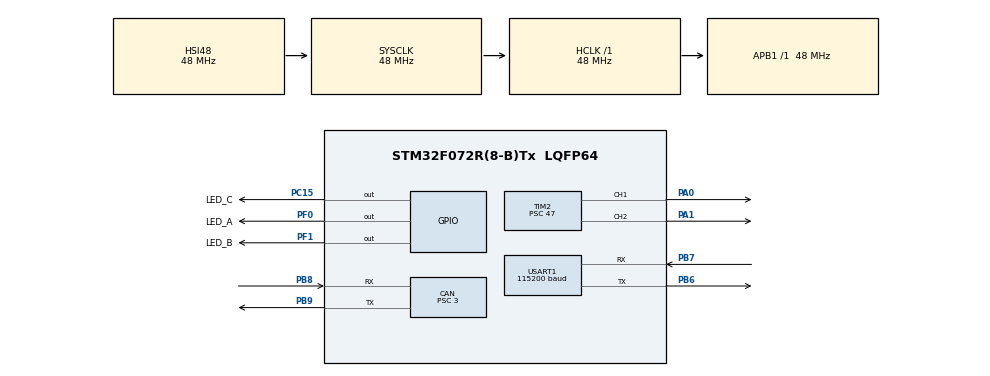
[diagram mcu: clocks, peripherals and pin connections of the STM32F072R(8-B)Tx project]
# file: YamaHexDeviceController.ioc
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CAN.BS1=CAN_BS1_11TQ
CAN.BS2=CAN_BS2_4TQ
CAN.CalculateBaudRate=1000000
CAN.CalculateTimeBit=1000
CAN.CalculateTimeQuantum=62.5
CAN.Prescaler=3
Mcu.Family=STM32F0
Mcu.Name=STM32F072R(8-B)Tx
Mcu.Package=LQFP64
NVIC.CEC_CAN_IRQn=true\:0\:0\:false\:false\:true\:true\:true\:true
PA0.Signal=S_TIM2_CH1_ETR
PA1.Signal=S_TIM2_CH2
PA13.Mode=Serial_Wire
PA13.Signal=SYS_SWDIO
PA14.Mode=Serial_Wire
PA14.Signal=SYS_SWCLK
PB6.Mode=Asynchronous
PB6.Signal=USART1_TX
PB7.Mode=Asynchronous
PB7.Signal=USART1_RX
PB8.Mode=CAN_Activate
PB8.Signal=CAN_RX
PB9.Mode=CAN_Activate
PB9.Signal=CAN_TX
PC15-OSC32_OUT.GPIO_Label=LED_C
PC15-OSC32_OUT.Signal=GPIO_Output
PF0-OSC_IN.GPIO_Label=LED_A
PF0-OSC_IN.Signal=GPIO_Output
PF1-OSC_OUT.GPIO_Label=LED_B
PF1-OSC_OUT.Signal=GPIO_Output
ProjectManager.HeapSize=0x200
ProjectManager.StackSize=0x400
ProjectManager.TargetToolchain=CMake
RCC.AHBFreq_Value=48000000
RCC.APB1Freq_Value=48000000
RCC.APB1TimFreq_Value=48000000
RCC.HCLKFreq_Value=48000000
RCC.SYSCLKFreq_VALUE=48000000
RCC.SYSCLKSource=RCC_SYSCLKSOURCE_HSI48
SH.S_TIM2_CH1_ETR.0=TIM2_CH1,PWM Generation1 CH1
SH.S_TIM2_CH2.0=TIM2_CH2,PWM Generation2 CH2
TIM2.Channel-PWM\ Generation1\ CH1=TIM_CHANNEL_1
TIM2.Channel-PWM\ Generation2\ CH2=TIM_CHANNEL_2
TIM2.Period=499
TIM2.Prescaler=47
USART1.BaudRate=115200
USART1.VirtualMode-Asynchronous=VM_ASYNC
board=custom

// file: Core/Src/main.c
/* USER CODE BEGIN Header */
/**
 ******************************************************************************
 * @file           : main.c
 * @brief          : Main program body
 ******************************************************************************
 * @attention
 *
 * Copyright (c) 2026 STMicroelectronics.
 * All rights reserved.
 *
 * This software is licensed under terms that can be found in the LICENSE file
 * in the root directory of this software component.
 * If no LICENSE file comes with this software, it is provided AS-IS.
 *
 ******************************************************************************
 */
/* USER CODE END Header */
#include "main.h"
#include "can.h"
#include "tim.h"
#include "usart.h"
#include "gpio.h"

/* USER CODE BEGIN Includes */
#include <stdbool.h>
#include <stdio.h>
/* USER CODE END Includes */

/* USER CODE BEGIN PD */
#define MOTOR_DUTY_MIN_PERCENT (-100)
#define MOTOR_DUTY_MAX_PERCENT (100)

/* USER CODE END PD */

void SystemClock_Config(void);
/* USER CODE BEGIN PFP */
void initCAN(void);
HAL_StatusTypeDef sendPacket(uint16_t stdId, const uint8_t *data, uint8_t len);
void Motor_SetDutyPercent(int8_t duty_percent);

/* USER CODE END PFP */

/* USER CODE BEGIN 0 */
CAN_RxHeaderTypeDef RxHeader;
CAN_FilterTypeDef RxFilter;
CAN_TxHeaderTypeDef TxHeader;
uint32_t TxMailbox;
uint8_t RxData[8];
bool RxFlag;

void initCAN(void)
{
  RxFilter.FilterBank = 0;
  RxFilter.FilterMode = CAN_FILTERMODE_IDMASK;
  RxFilter.FilterScale = CAN_FILTERSCALE_32BIT;
  RxFilter.FilterIdHigh = 0x0000;
  RxFilter.FilterIdLow = 0x0000;
  RxFilter.FilterMaskIdHigh = 0x0000;
  RxFilter.FilterMaskIdLow = 0x0000;
  RxFilter.FilterFIFOAssignment = CAN_RX_FIFO0;
  RxFilter.FilterActivation = ENABLE;
  RxFilter.SlaveStartFilterBank = 14;

  if (HAL_CAN_ConfigFilter(&hcan, &RxFilter) != HAL_OK)
  {
    Error_Handler();
  }

  if (HAL_CAN_Start(&hcan) != HAL_OK)
  {
    Error_Handler();
  }

  if (HAL_CAN_ActivateNotification(&hcan, CAN_IT_RX_FIFO0_MSG_PENDING) != HAL_OK)
  {
    Error_Handler();
  }
}
void Motor_SetDutyPercent(int8_t duty_percent)
{
  uint32_t arr = __HAL_TIM_GET_AUTORELOAD(&htim2) + 1U;
  uint32_t pulse = 0U;
  int32_t limited = duty_percent;

  if (limited > MOTOR_DUTY_MAX_PERCENT)
  {
    limited = MOTOR_DUTY_MAX_PERCENT;
  }
  else if (limited < MOTOR_DUTY_MIN_PERCENT)
  {
    limited = MOTOR_DUTY_MIN_PERCENT;
  }

  if (limited >= 0)
  {
    pulse = (uint32_t)((limited * (int32_t)arr) / MOTOR_DUTY_MAX_PERCENT);
    __HAL_TIM_SET_COMPARE(&htim2, TIM_CHANNEL_1, pulse);
    __HAL_TIM_SET_COMPARE(&htim2, TIM_CHANNEL_2, 0U);
  }
  else
  {
    pulse = (uint32_t)(((-limited) * (int32_t)arr) / MOTOR_DUTY_MAX_PERCENT);
    __HAL_TIM_SET_COMPARE(&htim2, TIM_CHANNEL_1, 0U);
    __HAL_TIM_SET_COMPARE(&htim2, TIM_CHANNEL_2, pulse);
  }
}

HAL_StatusTypeDef sendPacket(uint16_t stdId, const uint8_t *data, uint8_t data_length)
{
  if (data_length > 8)
  {
    return 0;
  }

  TxHeader.StdId = stdId;
  TxHeader.ExtId = 0;
  TxHeader.IDE = CAN_ID_STD;
  TxHeader.RTR = CAN_RTR_DATA;
  TxHeader.DLC = data_length;
  TxHeader.TransmitGlobalTime = DISABLE;

  return HAL_CAN_AddTxMessage(&hcan, &TxHeader, (uint8_t *)data, &TxMailbox);
}
/* USER CODE END 0 */

int main(void)
{

  /* MCU Configuration--------------------------------------------------------*/

  /* Reset of all peripherals, Initializes the Flash interface and the Systick. */
  HAL_Init();

  /* Configure the system clock */
  SystemClock_Config();

  /* Initialize all configured peripherals */
  MX_GPIO_Init();
  MX_CAN_Init();
  MX_USART1_UART_Init();
  MX_TIM2_Init();
  /* USER CODE BEGIN 2 */
  initCAN();
  HAL_TIM_PWM_Start(&htim2, TIM_CHANNEL_1); // 正転用のPWMを開始(htim2のチャンネル1にはモーターの正転用のPWMが設定されている)
  HAL_TIM_PWM_Start(&htim2, TIM_CHANNEL_2); // 逆転用のPWMを開始
  Motor_SetDutyPercent(-100);               // Motor_SetDutyPercentはモーターの回転速度と回転方向を設定する関数。引数は-100から100の範囲で、正の値が正転、負の値が逆転を表す。ここでは-100を指定しているため、モーターは最大速度で逆転する。
  /*duty_percent	0～100	正転（チャネル1でPWM出力）
  duty_percent	-100～0	逆転（チャネル2でPWM出力）
  duty_percent	0	モーター停止*/
  char b = '\'';
  HAL_UART_Transmit(&huart1, (uint8_t *)&b, 1, 1000);

  /* USER CODE END 2 */

  /* Infinite loop */
  while (1)
  {

    /* USER CODE BEGIN 3 */
    uint8_t tx_data[1] = {1};
    sendPacket(0x123, tx_data, sizeof(tx_data));
    HAL_Delay(1000);
  }
  /* USER CODE END 3 */
}

void SystemClock_Config(void)
{
  RCC_OscInitTypeDef RCC_OscInitStruct = {0};
  RCC_ClkInitTypeDef RCC_ClkInitStruct = {0};
  RCC_PeriphCLKInitTypeDef PeriphClkInit = {0};

  /** Initializes the RCC Oscillators according to the specified parameters
   * in the RCC_OscInitTypeDef structure.
   */
  RCC_OscInitStruct.OscillatorType = RCC_OSCILLATORTYPE_HSI48;
  RCC_OscInitStruct.HSI48State = RCC_HSI48_ON;
  RCC_OscInitStruct.PLL.PLLState = RCC_PLL_NONE;
  if (HAL_RCC_OscConfig(&RCC_OscInitStruct) != HAL_OK)
  {
    Error_Handler();
  }

  /** Initializes the CPU, AHB and APB buses clocks
   */
  RCC_ClkInitStruct.ClockType = RCC_CLOCKTYPE_HCLK | RCC_CLOCKTYPE_SYSCLK | RCC_CLOCKTYPE_PCLK1;
  RCC_ClkInitStruct.SYSCLKSource = RCC_SYSCLKSOURCE_HSI48;
  RCC_ClkInitStruct.AHBCLKDivider = RCC_SYSCLK_DIV1;
  RCC_ClkInitStruct.APB1CLKDivider = RCC_HCLK_DIV1;

  if (HAL_RCC_ClockConfig(&RCC_ClkInitStruct, FLASH_LATENCY_1) != HAL_OK)
  {
    Error_Handler();
  }
  PeriphClkInit.PeriphClockSelection = RCC_PERIPHCLK_USART1;
  PeriphClkInit.Usart1ClockSelection = RCC_USART1CLKSOURCE_PCLK1;
  if (HAL_RCCEx_PeriphCLKConfig(&PeriphClkInit) != HAL_OK)
  {
    Error_Handler();
  }
}

/* USER CODE BEGIN 4 */
void HAL_CAN_RxFifo0MsgPendingCallback(CAN_HandleTypeDef *hcan)
{

  if (HAL_CAN_GetRxMessage(hcan, CAN_RX_FIFO0, &RxHeader, RxData) == HAL_OK)
  {
    int16_t data = (int16_t)(((uint16_t)RxData[1] << 8) | RxData[0]); // 受信したデータを16ビットの整数に変換
    printf("revceived data :%d",data);
  }
  /*
  //文字列用なのでコメントアウトしておきます
  if (HAL_CAN_GetRxMessage(hcan, CAN_RX_FIFO0, &RxHeader, RxData) == HAL_OK)
  {
    // c言語のptrintfっぽいのをuartで垂れ流す
    HAL_UART_Transmit(&huart1, RxData, 8, 1000); // UARTにRxで受信したデータを流す
    char a = '\n';
    HAL_UART_Transmit(&huart1, (uint8_t *)&a, 1, 1000); // そのままだと改行がないためどこがはじめでどこが最後かわからなくなってしまうので改行をa(char)で垂れ流す。
  }
  */
}

/* USER CODE END 4 */

void Error_Handler(void)
{
  __disable_irq();
  while (1)
  {
  }
}
